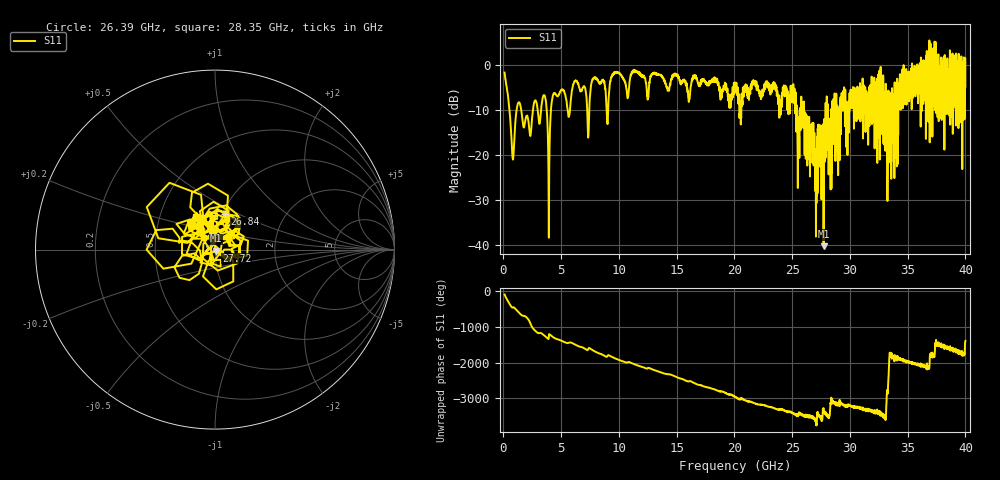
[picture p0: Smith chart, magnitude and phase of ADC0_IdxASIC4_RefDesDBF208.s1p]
! ADC = 0
! IdxASIC = 4
! RefDesDBF = 208
# Hz S DB R 50
! freq  S11(dB)  S11(deg)
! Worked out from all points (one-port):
!   3991 points, 100 MHz to 40 GHz, reference 50 ohm
!   lowest |S11| = -40.4 dB at 27.72 GHz (marker M1), VSWR 1.02, Z = 50.8 - j0.609 ohm
!   |S11| at or under -10 dB: 522.7 MHz to 1.134 GHz (611.1 MHz wide, 73.8 % of centre); 1.537 GHz to 2.55 GHz (1.012 GHz wide, 49.5 % of centre); 26.02 GHz to 27.89 GHz (1.863 GHz wide, 6.91 % of centre)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
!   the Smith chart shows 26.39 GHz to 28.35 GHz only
!   S11 on the Smith chart (normalised r, x): 26.39 GHz: 0.75, +0.22; 26.84 GHz: 1.03, +0.43; 27.72 GHz: 1.02, -0.01; 28.35 GHz: 0.76, +0.28
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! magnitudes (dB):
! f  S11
! 100 MHz  -1.6
! 810 MHz  -20.9
! 1.29 GHz  -8.4
! 2.3 GHz  -15.7
! 3.51 GHz  -6.6
! 3.95 GHz  -27.3
! 4.3 GHz  -6.6
! 5.09 GHz  -5.3
! 5.66 GHz  -11.5
! 6.32 GHz  -3.6
! 7.34 GHz  -16.1
! 7.79 GHz  -2.9
! 8.99 GHz  -12.7
! 10.08 GHz  -1.9
! 15.07 GHz  -2.2
! 20.05 GHz  -4.0
! 25.04 GHz  -7.0
! 25.54 GHz  -13.2
! 26.39 GHz  -14.5
! 26.84 GHz  -13.7
! 27.72 GHz  -40.4
! 28.35 GHz  -13.6
! 28.64 GHz  -12.4
! 30.03 GHz  -9.4
! 32.61 GHz  -5.8
! 33.33 GHz  -5.6
! 35.02 GHz  -4.3
! 40 GHz  -4.8
